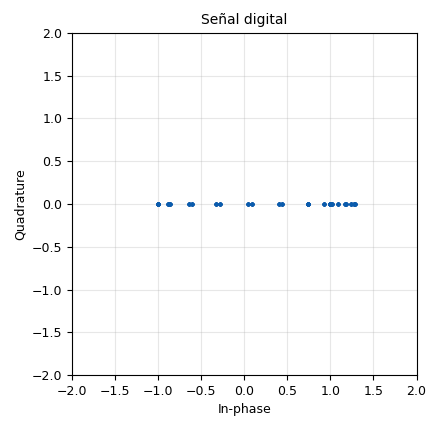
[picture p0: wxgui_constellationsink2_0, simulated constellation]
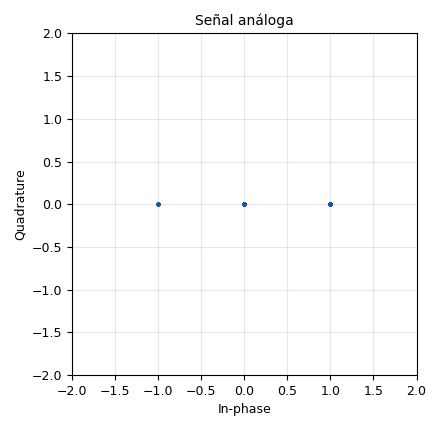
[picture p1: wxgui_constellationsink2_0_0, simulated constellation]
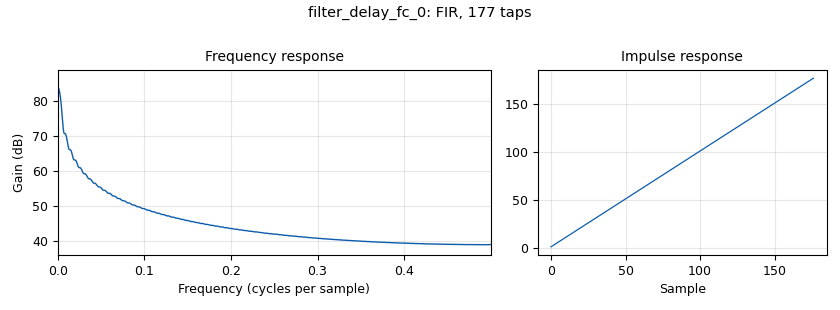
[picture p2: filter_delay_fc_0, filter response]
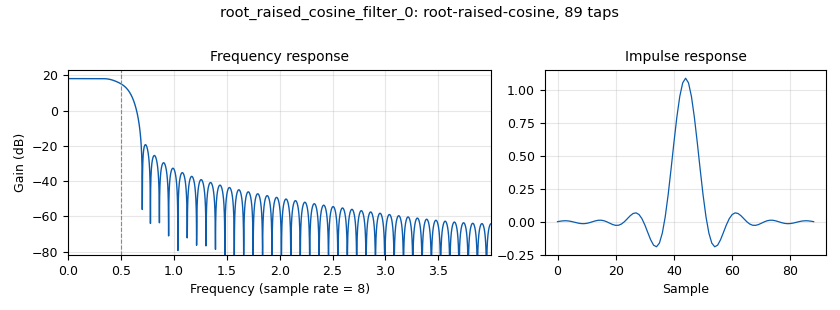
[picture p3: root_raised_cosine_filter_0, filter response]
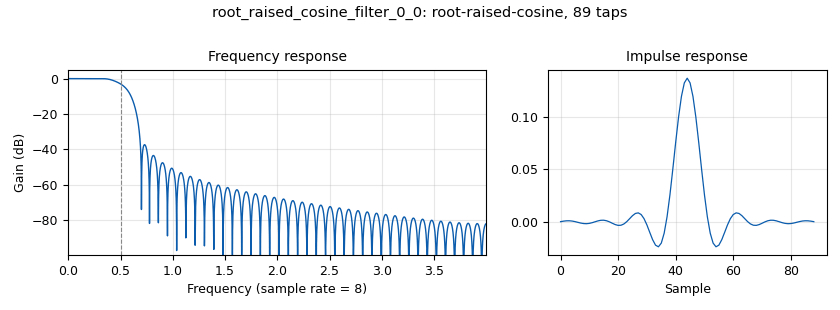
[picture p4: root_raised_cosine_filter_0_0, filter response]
<?xml version='1.0' encoding='utf-8'?>
<?grc format='1' created='3.7.11'?>
<flow_graph>
<block>
<key>options</key>
<param><key>id</key><value>top_block</value></param>
<param><key>category</key><value>Custom</value></param>
<param><key>generate_options</key><value>wx_gui</value></param>
</block>
<block>
<key>variable</key>
<param><key>id</key><value>samp_rate</value></param>
<param><key>value</key><value>100E3</value></param>
</block>
<block>
<key>variable</key>
<param><key>id</key><value>sps</value></param>
<param><key>value</key><value>8</value></param>
</block>
<block>
<key>blocks_complex_to_float</key>
<param><key>id</key><value>blocks_complex_to_float_0</value></param>
</block>
<block>
<key>blocks_complex_to_real</key>
<param><key>id</key><value>blocks_complex_to_real_0</value></param>
</block>
<block>
<key>blocks_float_to_complex</key>
<param><key>id</key><value>blocks_float_to_complex_0</value></param>
</block>
<block>
<key>blocks_throttle</key>
<param><key>id</key><value>blocks_throttle_0</value></param>
<param><key>samples_per_second</key><value>samp_rate</value></param>
<param><key>type</key><value>complex</value></param>
</block>
<block>
<key>blocks_vector_source_x</key>
<param><key>id</key><value>blocks_vector_source_x_0</value></param>
<param><key>type</key><value>complex</value></param>
<param><key>repeat</key><value>True</value></param>
<param><key>vector</key><value>(1,1,-1,1,-1,1)</value></param>
</block>
<block>
<key>filter_delay_fc</key>
<param><key>id</key><value>filter_delay_fc_0</value></param>
<param><key>taps</key><value>range(1,2*11*sps+2)</value></param>
</block>
<block>
<key>interp_fir_filter_xxx</key>
<param><key>id</key><value>interp_fir_filter_xxx_1</value></param>
<param><key>interp</key><value>sps</value></param>
<param><key>taps</key><value>1</value></param>
<param><key>type</key><value>ccc</value></param>
</block>
<block>
<key>root_raised_cosine_filter</key>
<param><key>id</key><value>root_raised_cosine_filter_0</value></param>
<param><key>alpha</key><value>0.35</value></param>
<param><key>decim</key><value>1</value></param>
<param><key>type</key><value>fir_filter_ccf</value></param>
<param><key>gain</key><value>sps</value></param>
<param><key>ntaps</key><value>11*sps</value></param>
<param><key>samp_rate</key><value>sps</value></param>
<param><key>sym_rate</key><value>1</value></param>
</block>
<block>
<key>root_raised_cosine_filter</key>
<param><key>id</key><value>root_raised_cosine_filter_0_0</value></param>
<param><key>alpha</key><value>.35</value></param>
<param><key>decim</key><value>1</value></param>
<param><key>type</key><value>fir_filter_ccf</value></param>
<param><key>gain</key><value>1</value></param>
<param><key>ntaps</key><value>11*sps</value></param>
<param><key>samp_rate</key><value>sps</value></param>
<param><key>sym_rate</key><value>1</value></param>
</block>
<block>
<key>wxgui_constellationsink2</key>
<param><key>id</key><value>wxgui_constellationsink2_0</value></param>
<param><key>const_size</key><value>1024</value></param>
<param><key>frame_rate</key><value>5</value></param>
<param><key>gain_mu</key><value>0.005</value></param>
<param><key>grid_pos</key><value>0,0,1,1</value></param>
<param><key>loop_bw</key><value>6.28/100.0</value></param>
<param><key>M</key><value>2</value></param>
<param><key>fmax</key><value>0.06</value></param>
<param><key>mu</key><value>0.5</value></param>
<param><key>omega_limit</key><value>0.005</value></param>
<param><key>samp_rate</key><value>samp_rate</value></param>
<param><key>symbol_rate</key><value>samp_rate/4.</value></param>
<param><key>theta</key><value>0</value></param>
<param><key>title</key><value>Señal digital</value></param>
<param><key>win_size</key><value>420,300</value></param>
</block>
<block>
<key>wxgui_constellationsink2</key>
<param><key>id</key><value>wxgui_constellationsink2_0_0</value></param>
<param><key>const_size</key><value>1024</value></param>
<param><key>frame_rate</key><value>5</value></param>
<param><key>gain_mu</key><value>0.005</value></param>
<param><key>grid_pos</key><value>1,0,1,1</value></param>
<param><key>loop_bw</key><value>6.28/100.0</value></param>
<param><key>M</key><value>2</value></param>
<param><key>fmax</key><value>0.06</value></param>
<param><key>mu</key><value>0.5</value></param>
<param><key>omega_limit</key><value>0.005</value></param>
<param><key>samp_rate</key><value>samp_rate</value></param>
<param><key>symbol_rate</key><value>samp_rate/4.</value></param>
<param><key>theta</key><value>0</value></param>
<param><key>title</key><value>Señal análoga</value></param>
<param><key>win_size</key><value>430,300</value></param>
</block>
<connection><source_block_id>blocks_complex_to_float_0</source_block_id><sink_block_id>filter_delay_fc_0</sink_block_id><source_key>0</source_key><sink_key>0</sink_key></connection>
<connection><source_block_id>blocks_complex_to_real_0</source_block_id><sink_block_id>blocks_float_to_complex_0</sink_block_id><source_key>0</source_key><sink_key>0</sink_key></connection>
<connection><source_block_id>blocks_float_to_complex_0</source_block_id><sink_block_id>wxgui_constellationsink2_0_0</sink_block_id><source_key>0</source_key><sink_key>0</sink_key></connection>
<connection><source_block_id>blocks_throttle_0</source_block_id><sink_block_id>blocks_complex_to_float_0</sink_block_id><source_key>0</source_key><sink_key>0</sink_key></connection>
<connection><source_block_id>blocks_throttle_0</source_block_id><sink_block_id>root_raised_cosine_filter_0</sink_block_id><source_key>0</source_key><sink_key>0</sink_key></connection>
<connection><source_block_id>blocks_vector_source_x_0</source_block_id><sink_block_id>interp_fir_filter_xxx_1</sink_block_id><source_key>0</source_key><sink_key>0</sink_key></connection>
<connection><source_block_id>filter_delay_fc_0</source_block_id><sink_block_id>blocks_complex_to_real_0</sink_block_id><source_key>0</source_key><sink_key>0</sink_key></connection>
<connection><source_block_id>interp_fir_filter_xxx_1</source_block_id><sink_block_id>blocks_throttle_0</sink_block_id><source_key>0</source_key><sink_key>0</sink_key></connection>
<connection><source_block_id>root_raised_cosine_filter_0</source_block_id><sink_block_id>root_raised_cosine_filter_0_0</sink_block_id><source_key>0</source_key><sink_key>0</sink_key></connection>
<connection><source_block_id>root_raised_cosine_filter_0_0</source_block_id><sink_block_id>wxgui_constellationsink2_0</sink_block_id><source_key>0</source_key><sink_key>0</sink_key></connection>
</flow_graph>
